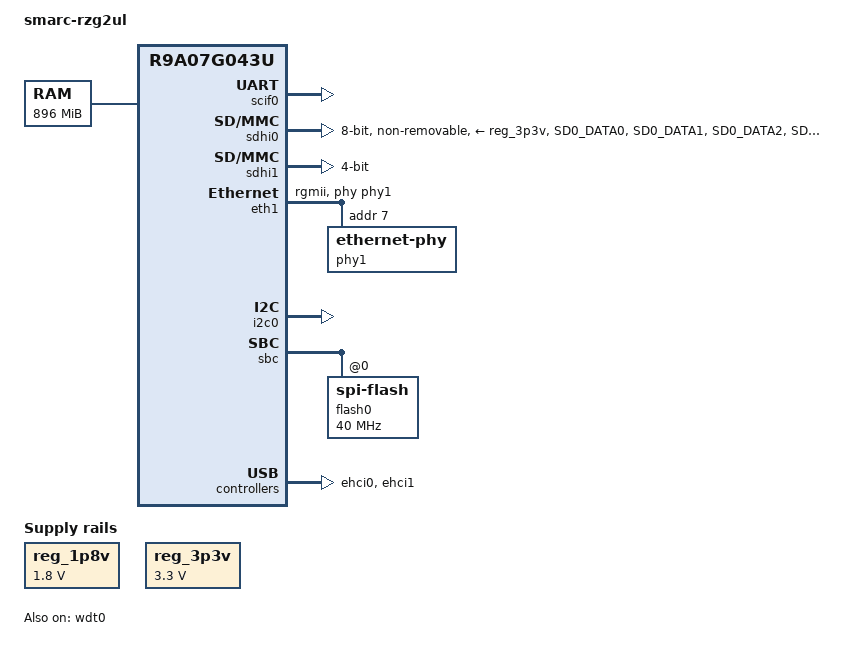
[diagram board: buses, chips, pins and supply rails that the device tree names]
// SPDX-License-Identifier: GPL-2.0
/*
 * Device Tree Source for the GR-Peach board
 *
 * Copyright (C) 2017 Jacopo Mondi <jacopo+renesas@jmondi.org>
 * Copyright (C) 2016 Renesas Electronics
 */

/dts-v1/;
#include <dt-bindings/gpio/gpio.h>
#include "r9a07g043u.dtsi"
#include "r9a07g043u11-u-boot.dtsi"
#include <dt-bindings/pinctrl/rzg2l-pinctrl.h>

/ {
	model = "smarc-rzg2ul";
	compatible = "renesas,r9a07g043u", "renesas,rzg2ul";

	aliases {
		serial0 = &scif0;
		spi0 = &sbc;
	};

	chosen {
		stdout-path = "serial0:115200n8";
	};

	memory@48000000 {
		device_type = "memory";
		/* first 128MB is reserved for secure area. */
		reg = <0 0x48000000 0 0x38000000>;
	};

	reg_1p8v: regulator-1p8v {
		compatible = "regulator-fixed";
		regulator-name = "fixed-1.8V";
		regulator-min-microvolt = <1800000>;
		regulator-max-microvolt = <1800000>;
		regulator-boot-on;
		regulator-always-on;
	};

	reg_3p3v: regulator-3p3v {
		compatible = "regulator-fixed";
		regulator-name = "fixed-3.3V";
		regulator-min-microvolt = <3300000>;
		regulator-max-microvolt = <3300000>;
		regulator-boot-on;
		regulator-always-on;
	};

};

&pinctrl {
	eth1_pins: eth1 {
		pinmux = <RZG2L_PINMUX(7, 0, 1)>,
				<RZG2L_PINMUX(7, 1, 1)>,
				<RZG2L_PINMUX(7, 2, 1)>,
				<RZG2L_PINMUX(7, 3, 1)>,
				<RZG2L_PINMUX(7, 4, 1)>,
				<RZG2L_PINMUX(8, 0, 1)>,
				<RZG2L_PINMUX(8, 4, 1)>,
				<RZG2L_PINMUX(9, 0, 1)>,
				<RZG2L_PINMUX(9, 1, 1)>,
				<RZG2L_PINMUX(9, 2, 1)>,
				<RZG2L_PINMUX(9, 3, 1)>,
				<RZG2L_PINMUX(10, 0, 1)>,
				<RZG2L_PINMUX(10, 2, 1)>,
				<RZG2L_PINMUX(10, 3, 1)>,
				<RZG2L_PINMUX(10, 4, 1)>;
	};

	sdhi0_emmc_pins: sd0emmc {
		sd0_emmc_data {
			pins = "SD0_DATA0", "SD0_DATA1", "SD0_DATA2", "SD0_DATA3",
			       "SD0_DATA4", "SD0_DATA5", "SD0_DATA6", "SD0_DATA7";
			power-source = <1800>;
		};

		sd0_emmc_ctrl {
			pins = "SD0_CLK", "SD0_CMD";
			power-source = <1800>;
		};

		sd0_emmc_rst {
			pins = "SD0_RST#";
			power-source = <1800>;
		};
	};

};

&extal_clk {
        clock-frequency = <24000000>;
};

&scif0 {
	status = "okay";
	clock = <100000000>;
};

&sdhi0 {
	/* pinctrl placeholder
	 * If this channel is used for interfacing with a SD card, a power enable
	 * pin (SD0_PWR_EN) must be defined.
	 * The SD0_PWR_EN pin is associated with P4_1.
	 * A HIGH signal on SD0_PWR_EN will enable supply voltage for SD card.
	*/
	pinctrl-0 = <&sdhi0_emmc_pins>;
	pinctrl-1 = <&sdhi0_emmc_pins>;
	pinctrl-names = "default", "state_uhs";
	bus-width = <8>;
	vmmc-supply = <&reg_3p3v>;
	vqmmc-supply = <&reg_1p8v>;
	status = "okay";
	mmc-hs200-1_8v;
	non-removable;
	fixed-emmc-driver-type = <1>;
	/* This is used for interface that support both eMMC and SD in board */
	mutual-channel;
};

&sdhi1 {
	/* pinctrl placeholder
	 * A power enable pin (SD1_PWR_EN) must be defined to interface with a
	 * SD card.
	 * The SD1_PWR_EN pin is associated with P0_3.
	 * A HIGH signal on SD1_PWR_EN will enable supply voltage for SD card.
	*/
	bus-width = <4>;
	status = "okay";
};

&eth1 {
	pinctrl-names = "default";
	pinctrl-0 = <&eth1_pins>;
	phy-handle = <&phy1>;
	phy-mode = "rgmii";
	status = "okay";

	phy1: ethernet-phy@7 {
		reg = <7>;
	};
};

&i2c0 {
	status = "okay";
};

&sbc {
        num-cs = <1>;
        status = "okay";
        spi-max-frequency = <40000000>;
        #address-cells = <1>;
        #size-cells = <0>;
        flash0: spi-flash@0 {
                #address-cells = <1>;
                #size-cells = <1>;
                compatible = "spi-flash", "jedec,spi-nor";
                spi-max-frequency = <40000000>;
                spi-tx-bus-width = <1>;
                spi-rx-bus-width = <1>;
                reg = <0>;
                status = "okay";
        };
};

&ehci0 {
	status = "okay";
};

&ehci1 {
	status = "okay";
};

&wdt0 {
	status = "okay";
	timeout-sec = <60>;
};
